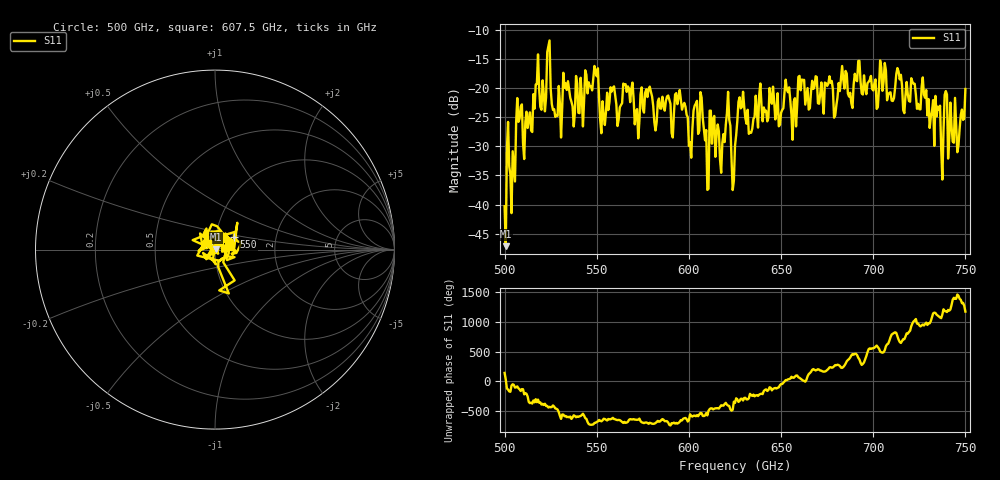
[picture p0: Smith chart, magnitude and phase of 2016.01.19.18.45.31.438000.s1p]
!Created with skrf (http://scikit-rf.org).
# GHz S RI R 50.0
!freq ReS11 ImS11
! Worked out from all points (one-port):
!   401 points, 500 GHz to 750 GHz, reference 50 ohm
!   lowest |S11| = -47.1 dB at 500.6 GHz (marker M1), VSWR 1.01, Z = 50.4 + j0.227 ohm
!   |S11| at or under -10 dB: start of sweep to end of sweep
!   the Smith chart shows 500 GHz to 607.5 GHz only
!   S11 on the Smith chart (normalised r, x): 500 GHz: 0.98, +0.01; 550 GHz: 1.22, +0.17; 607.5 GHz: 0.92, +0.07
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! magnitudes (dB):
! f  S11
! 500 GHz  -40.3
! 500.6 GHz  -47.1
! 504.4 GHz  -30.8
! 508.1 GHz  -25.3
! 511.2 GHz  -25.9
! 523.8 GHz  -12.8
! 526.9 GHz  -23.6
! 531.2 GHz  -23.3
! 550 GHz  -18.0
! 553.1 GHz  -22.3
! 558.8 GHz  -19.9
! 562.5 GHz  -23.3
! 593.8 GHz  -22.8
! 600.6 GHz  -29.3
! 607.5 GHz  -25.2
! 609.4 GHz  -27.2
! 621.2 GHz  -20.7
! 625 GHz  -29.9
! 628.1 GHz  -23.5
! 633.8 GHz  -27.7
! 653.1 GHz  -20.2
! 656.2 GHz  -28.9
! 660.6 GHz  -20.4
! 687.5 GHz  -20.8
! 691.2 GHz  -18.8
! 718.8 GHz  -21.1
! 736.9 GHz  -30.5
! 750 GHz  -20.2
